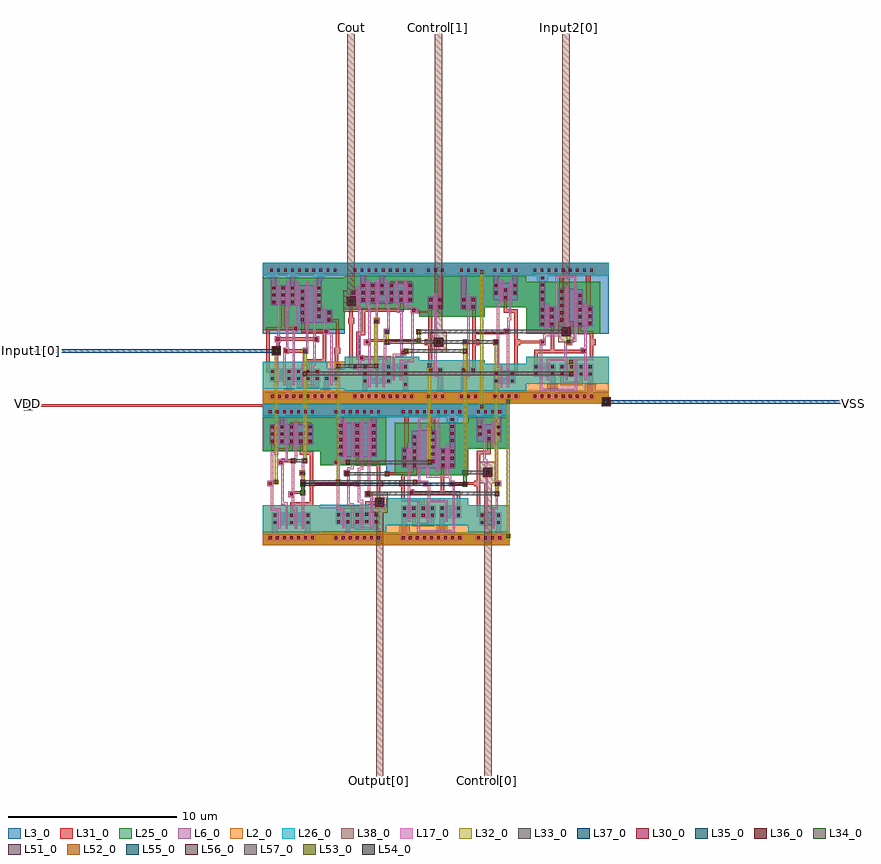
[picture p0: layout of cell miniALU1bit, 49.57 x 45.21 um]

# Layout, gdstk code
from math import pi, radians
import gdstk
lib = gdstk.Library(unit=1e-6, precision=1e-09)
def R(c, l, rs):  # rectangles x0, y0, x1, y1
    for r in rs: c.add(gdstk.rectangle(r[:2], r[2:], *l))
def A(c, l, x, y, w, h, nx, ny, dx, dy):  # array of equal rectangles
    R(c, l, [(x+i*dx, y+j*dy, x+i*dx+w, y+j*dy+h) for i in range(nx) for j in range(ny)])
def P(c, l, *ps):  # polygons
    for p in ps: c.add(gdstk.Polygon(p, *l))
L2_0 = (2, 0)
L3_0 = (3, 0)
L6_0 = (6, 0)
L17_0 = (17, 0)
L25_0 = (25, 0)
L26_0 = (26, 0)
L30_0 = (30, 0)
L31_0 = (31, 0)
L32_0 = (32, 0)
L33_0 = (33, 0)
L34_0 = (34, 0)
L35_0 = (35, 0)
L36_0 = (36, 0)
L37_0 = (37, 0)
L38_0 = (38, 0)
L51_0 = (51, 0)
L52_0 = (52, 0)
L53_0 = (53, 0)
L54_0 = (54, 0)
L55_0 = (55, 0)
L56_0 = (56, 0)
L57_0 = (57, 0)

adk_poly_m1 = lib.new_cell('ADK_poly_m1')
R(adk_poly_m1, L17_0, [(-0.175,-0.175,0.175,0.175)])
R(adk_poly_m1, L30_0, [(-0.08,-0.08,0.08,0.08)])
R(adk_poly_m1, L31_0, [(-0.175,-0.175,0.175,0.175)])

inv01 = lib.new_cell('inv01')
R(inv01, L2_0, [(0,0,1.96,2.59)])
R(inv01, L3_0, [(0,5.18,1.96,8.4), (0,5.18,1.96,7.63)])
R(inv01, L6_0, [(0.385,0.28,1.575,0.63), (0.525,0.63,0.875,1.54), (0.525,1.54,0.84,1.82), (0.525,1.82,0.91,2.17), (0.525,1.82,1.435,2.17), (1.05,1.82,1.435,2.17), (0.525,5.6,0.91,6.37), (0.525,5.6,1.435,6.37), (1.05,5.6,1.435,6.37), (0.525,6.37,0.84,6.65), (0.525,6.65,0.875,7.77), (0.385,7.77,1.575,8.12)])
R(inv01, L17_0, [(0.91,1.61,1.05,1.82), (0.91,1.82,1.05,2.17), (0.91,2.17,1.05,2.38), (0.91,2.345,1.05,5.425), (0.91,5.39,1.05,5.6), (0.91,5.6,1.05,6.37), (0.91,6.37,1.05,6.58)])
R(inv01, L25_0, [(0,0,1.96,0.77), (0,5.18,1.96,7.63)])
R(inv01, L26_0, [(0,0.77,1.96,2.59), (0,7.63,1.96,8.4)])
A(inv01, L30_0, 0.48, 0.375, 0.16, 0.16, 3, 2, 0.42, 7.49)
R(inv01, L30_0, [(0.62,1.915,0.78,2.075), (1.18,1.915,1.34,2.075), (0.62,5.695,0.78,5.855), (1.18,5.695,1.34,5.855), (0.62,6.115,0.78,6.275), (1.18,6.115,1.34,6.275)])
R(inv01, L31_0, [(0,0,1.96,0.7), (0,0,1.96,0.7), (0.56,0.7,0.84,1.505), (0.56,1.505,0.805,1.855), (0.56,1.855,0.84,2.135), (1.12,1.855,1.4,2.135), (1.19,2.135,1.4,5.635), (0.63,3.5,0.98,3.85), (1.26,3.5,1.61,3.85), (1.26,3.5,1.61,3.85), (0.56,5.635,0.84,6.335), (1.12,5.635,1.4,6.335), (0.56,6.335,0.805,6.685), (0.56,6.685,0.84,7.7), (0,7.7,1.96,8.4), (0,7.7,1.96,8.4)])
inv01.add(gdstk.Reference(adk_poly_m1, (0.805,3.675)))
inv01.add(gdstk.Label('Y', (1.435,3.675), layer=131, texttype=0))
inv01.add(gdstk.Label('A', (0.805,3.675), layer=131, texttype=0))
inv01.add(gdstk.Label('VDD', (0.98,8.05), layer=131, texttype=0))
inv01.add(gdstk.Label('VSS', (0.98,0.35), layer=131, texttype=0))

ao32 = lib.new_cell('ao32')
R(ao32, L2_0, [(0,0,4.41,2.8)])
R(ao32, L3_0, [(0,5.6,4.41,8.4)])
P(ao32, L3_0, [(4.41,7.21),(3.815,7.21),(3.815,7.63),(0,7.63),(0,5.6),(4.41,5.6)])
R(ao32, L6_0, [(0.28,0.28,3.99,0.63), (0.63,0.63,0.98,1.33), (3.045,0.63,3.395,0.91), (3.08,0.91,3.395,1.19), (0.63,1.33,0.945,1.61), (0.63,1.61,1.015,2.38), (3.605,2.03,3.99,2.38), (0.345,6.02,0.73,7.21), (3.705,6.02,4.09,6.79), (2.06,7.21,2.34,7.49), (3.18,7.21,3.495,7.49), (2.025,7.49,2.375,7.77), (3.145,7.49,3.495,7.77), (0.28,7.77,3.99,8.12)])
P(ao32, L6_0, [(3.395,1.19),(3.395,2.03),(3.99,2.03),(3.99,2.38),(0.63,2.38),(0.63,1.61),(1.645,1.61),(1.645,1.19)],
  [(0.38,6.02),(4.09,6.02),(4.09,6.79),(3.495,6.79),(3.495,7.21),(0.38,7.21)])
A(ao32, L17_0, 2.03, 0.98, 0.14, 0.21, 3, 2, 0.42, 1.4)
A(ao32, L17_0, 2.03, 1.19, 0.14, 1.19, 3, 1, 0.42, 0)
A(ao32, L17_0, 0.73, 5.81, 0.14, 0.21, 5, 2, 0.56, 1.4)
A(ao32, L17_0, 0.73, 6.02, 0.14, 1.19, 5, 1, 0.56, 0)
R(ao32, L17_0, [(1.015,1.4,1.155,1.61), (1.435,1.4,1.575,1.61), (1.015,1.61,1.155,2.38), (1.435,1.61,1.575,2.38), (3.465,1.82,3.605,2.03), (3.465,2.03,3.605,2.38), (1.015,2.38,1.155,2.59), (1.435,2.38,1.575,2.59), (3.465,2.38,3.605,2.59), (3.255,2.555,3.605,2.905), (1.19,5.71,1.43,5.845), (1.75,5.71,1.99,5.845), (2.87,5.71,3.11,5.845), (3.465,5.71,3.705,5.845), (3.565,5.81,3.705,6.02), (3.565,6.02,3.705,6.79), (3.565,6.79,3.705,7)])
R(ao32, L25_0, [(0,0,4.41,0.77), (0,5.6,4.41,7.63)])
R(ao32, L26_0, [(0,0.77,4.41,2.8), (0,7.63,4.41,8.4)])
A(ao32, L30_0, 0.375, 0.375, 0.16, 0.16, 9, 2, 0.42, 7.49)
A(ao32, L30_0, 1.74, 1.285, 0.16, 0.16, 1, 3, 0, 0.42)
A(ao32, L30_0, 3.14, 1.285, 0.16, 0.16, 1, 3, 0, 0.42)
A(ao32, L30_0, 0.44, 6.115, 0.16, 0.16, 3, 1, 0.56, 0)
A(ao32, L30_0, 0.44, 6.535, 0.16, 0.16, 6, 1, 0.56, 0)
A(ao32, L30_0, 1.56, 6.955, 0.16, 0.16, 4, 1, 0.56, 0)
R(ao32, L30_0, [(0.725,1.075,0.885,1.235), (0.725,1.705,0.885,1.865), (0.725,2.125,0.885,2.285), (3.735,2.125,3.895,2.285), (3.35,2.65,3.51,2.81), (2.68,6.115,2.84,6.275), (3.24,6.115,3.4,6.275), (3.835,6.115,3.995,6.275), (3.835,6.535,3.995,6.695), (0.44,6.955,0.6,7.115)])
A(ao32, L31_0, 0.38, 6.055, 0.28, 1.12, 3, 1, 1.12, 0)
R(ao32, L31_0, [(0,0,4.41,0.7), (0,0,4.41,0.7), (0.665,0.7,0.945,1.295), (3.08,0.7,3.36,0.875), (3.115,0.875,3.36,1.225), (1.68,1.225,1.96,2.345), (3.08,1.225,3.36,2.345), (0.665,1.295,0.91,1.645), (0.665,1.645,0.945,2.345), (3.675,2.065,3.955,2.345), (3.29,2.59,3.57,2.87), (0.77,2.87,1.12,3.22), (2.93,3.5,3.28,3.85), (1.75,4.13,2.1,4.48), (2.34,4.76,2.69,5.11), (3.865,4.76,4.215,5.11), (0.14,5.39,0.49,5.74), (0.94,6.055,1.22,6.775), (3.18,6.055,3.46,7.175), (3.775,6.055,4.055,6.755), (2.06,6.43,2.34,7.175), (2.095,7.175,2.305,7.525), (3.215,7.175,3.46,7.525), (2.06,7.525,2.34,7.7), (3.18,7.525,3.46,7.7), (0,7.7,4.41,8.4), (0,7.7,4.41,8.4)])
ao32.add(gdstk.FlexPath([(1.015,6.055),(1.015,5.6),(3.315,5.6),(3.315,4.175),(3.62,4.175),(3.62,2.73),(1.785,2.73),(1.785,2.345)], 0.21, ends="flush", simple_path=True, layer=31, datatype=0))  # L31_0
ao32.add(gdstk.FlexPath([(4.055,2.125),(4.055,6.255)], 0.21, ends="flush", simple_path=True, layer=31, datatype=0))  # L31_0
ao32.add(gdstk.FlexPath([(1.675,6.055),(1.675,6.04),(2.725,6.04),(2.725,6.055)], 0.21, ends="flush", simple_path=True, layer=31, datatype=0))  # L31_0
ao32.add(gdstk.FlexPath([(1.89,2.73),(3.29,2.73)], 0.21, ends="flush", simple_path=True, layer=31, datatype=0))  # L31_0
ao32.add(gdstk.FlexPath([(0.555,7.175),(0.555,7.23),(1.605,7.23),(1.605,7.175)], 0.21, ends="flush", simple_path=True, layer=31, datatype=0))  # L31_0
ao32.add(gdstk.FlexPath([(0.87,5.81),(0.385,5.81),(0.385,2.555),(1.155,2.555)], 0.14, ends="flush", simple_path=True, layer=17, datatype=0))  # L17_0
ao32.add(gdstk.FlexPath([(2.94,5.845),(2.94,2.555)], 0.14, ends="flush", simple_path=True, layer=17, datatype=0))  # L17_0
ao32.add(gdstk.FlexPath([(2.03,4.13),(2.03,2.555),(2.17,2.555)], 0.14, ends="flush", simple_path=True, layer=17, datatype=0))  # L17_0
ao32.add(gdstk.FlexPath([(2.41,5.845),(2.52,5.845),(2.52,2.555)], 0.14, ends="flush", simple_path=True, layer=17, datatype=0))  # L17_0
ao32.add(gdstk.FlexPath([(1.26,5.845),(1.26,5.495),(1.05,5.495),(1.05,2.905),(1.505,2.905),(1.505,2.555)], 0.14, ends="flush", simple_path=True, layer=17, datatype=0))  # L17_0
ao32.add(gdstk.FlexPath([(3.535,5.845),(3.535,2.905)], 0.14, ends="flush", simple_path=True, layer=17, datatype=0))  # L17_0
ao32.add(gdstk.FlexPath([(1.82,5.845),(1.82,4.48)], 0.14, ends="flush", simple_path=True, layer=17, datatype=0))  # L17_0
ao32.add(gdstk.Reference(adk_poly_m1, (1.925,4.305), rotation=pi, x_reflection=True))
ao32.add(gdstk.Reference(adk_poly_m1, (0.945,3.045), rotation=pi, x_reflection=True))
ao32.add(gdstk.Reference(adk_poly_m1, (3.105,3.675), rotation=pi, x_reflection=True))
ao32.add(gdstk.Reference(adk_poly_m1, (2.515,4.935), rotation=pi, x_reflection=True))
ao32.add(gdstk.Reference(adk_poly_m1, (0.315,5.565), rotation=pi, x_reflection=True))
ao32.add(gdstk.Label('VSS', (2.205,0.35), layer=131, texttype=0))
ao32.add(gdstk.Label('VDD', (2.205,8.05), layer=131, texttype=0))
ao32.add(gdstk.Label('A2', (3.105,3.675), layer=131, texttype=0))
ao32.add(gdstk.Label('A0', (1.925,4.305), layer=131, texttype=0))
ao32.add(gdstk.Label('Y', (4.04,4.935), layer=131, texttype=0))
ao32.add(gdstk.Label('B0', (0.945,3.045), layer=131, texttype=0))
ao32.add(gdstk.Label('B1', (0.315,5.565), layer=131, texttype=0))
ao32.add(gdstk.Label('A1', (2.515,4.935), layer=131, texttype=0))

xnor2 = lib.new_cell('xnor2')
R(xnor2, L2_0, [(0,0,4.9,2.8)])
R(xnor2, L3_0, [(0,4.165,4.9,8.4)])
P(xnor2, L3_0, [(3.8,4.165),(3.8,4.2),(4.395,4.2),(4.395,6.23),(3.8,6.23),(3.8,7.245),(3.205,7.245),(3.205,7.28),(1.525,7.28),(1.525,6.195),(0.37,6.195),(0.37,4.165)])
R(xnor2, L6_0, [(0.35,0.28,4.06,0.63), (3.64,0.63,3.99,1.295), (1.4,0.98,1.75,1.295), (1.435,1.295,1.75,1.61), (3.675,1.295,3.99,1.61), (0.42,1.61,0.805,2.38), (0.42,1.61,1.75,2.38), (1.365,1.61,1.75,2.38), (1.96,1.61,3.99,2.38), (1.96,1.61,2.345,2.38), (3.605,1.61,3.99,2.38), (0.79,4.585,1.175,5.775), (3.59,4.62,3.975,5.81), (0.79,5.775,1.105,6.09), (0.79,6.09,1.14,7.77), (0.35,7.77,4.06,8.12)])
P(xnor2, L6_0, [(2.295,4.585),(2.295,4.62),(2.575,4.62),(2.575,4.585),(3.38,4.585),(3.38,4.62),(3.975,4.62),(3.975,5.81),(3.38,5.81),(3.38,6.825),(2.785,6.825),(2.785,6.86),(1.945,6.86),(1.945,5.775),(0.79,5.775),(0.79,4.585)])
A(xnor2, L17_0, 2.345, 1.4, 0.14, 0.21, 3, 2, 0.56, 0.98)
A(xnor2, L17_0, 2.345, 1.61, 0.14, 0.77, 3, 1, 0.56, 0)
R(xnor2, L17_0, [(0.805,1.4,0.945,1.61), (1.225,1.4,1.365,1.61), (0.805,1.61,0.945,2.38), (1.225,1.61,1.365,2.38), (0.805,2.38,0.945,2.59), (1.225,2.38,1.365,2.59), (0.805,2.555,0.945,3.5), (1.225,2.555,2.485,2.695), (3.465,2.555,3.605,4.41), (2.275,2.695,2.415,3.64), (3.22,2.975,3.57,3.325), (3.45,4.235,3.59,4.41), (1.175,4.375,1.315,4.585), (1.735,4.375,1.875,4.585), (2.855,4.375,2.995,4.585), (2.365,4.41,2.505,4.62), (3.45,4.41,3.59,4.62), (1.175,4.585,1.315,5.775), (1.735,4.585,1.875,5.775), (2.855,4.585,2.995,6.825), (2.365,4.62,2.505,6.86), (3.45,4.62,3.59,5.81), (1.175,5.775,1.315,5.985), (1.735,5.775,1.875,5.985), (3.45,5.81,3.59,6.02), (2.855,6.825,2.995,7.035), (2.365,6.86,2.505,7.07)])
P(xnor2, L17_0, [(1.175,4.03),(2.505,4.03),(2.505,4.41),(2.365,4.41),(2.365,4.17),(1.315,4.17),(1.315,4.41),(1.175,4.41)],
  [(1.735,5.95),(1.875,5.95),(1.875,7.49),(2.855,7.49),(2.855,7),(2.995,7),(2.995,7.63),(1.735,7.63)],
  [(2.73,3.71),(2.995,3.71),(2.995,4.425),(2.855,4.425),(2.855,3.85),(2.73,3.85)],
  [(1.015,3.85),(1.155,3.85),(1.155,4.025),(1.295,4.025),(1.295,4.165),(1.015,4.165)],
  [(0.805,0.77),(3.045,0.77),(3.045,1.435),(2.905,1.435),(2.905,0.91),(0.945,0.91),(0.945,1.435),(0.805,1.435)])
R(xnor2, L25_0, [(0,0,4.9,0.77), (1.26,0.77,1.89,1.19), (3.5,0.77,4.13,1.19), (0,4.165,4.395,7.28)])
R(xnor2, L26_0, [(0,1.19,2.17,2.8), (1.54,1.19,4.9,2.8), (0.65,7.28,1.28,7.63), (0,7.63,4.9,8.4)])
A(xnor2, L30_0, 0.445, 0.375, 0.16, 0.16, 9, 2, 0.42, 7.49)
A(xnor2, L30_0, 1.495, 1.705, 0.16, 0.16, 5, 2, 0.56, 0.42)
A(xnor2, L30_0, 0.885, 4.68, 0.16, 0.16, 1, 3, 0, 0.42)
A(xnor2, L30_0, 1.445, 4.68, 0.16, 0.16, 1, 3, 0, 0.42)
A(xnor2, L30_0, 3.125, 4.68, 0.16, 0.16, 1, 5, 0, 0.42)
A(xnor2, L30_0, 3.72, 4.715, 0.16, 0.16, 1, 3, 0, 0.42)
A(xnor2, L30_0, 2.04, 4.925, 0.16, 0.16, 1, 5, 0, 0.42)
A(xnor2, L30_0, 0.885, 6.15, 0.16, 0.16, 1, 4, 0, 0.42)
R(xnor2, L30_0, [(0.515,1.705,0.675,1.865), (0.515,2.125,0.675,2.285), (3.315,3.07,3.475,3.23)])
A(xnor2, L31_0, 1.435, 1.645, 0.28, 0.7, 5, 1, 0.56, 0)
R(xnor2, L31_0, [(0,0,4.9,0.7), (1.435,0.7,1.715,1.015), (3.675,0.7,3.955,1.295), (1.435,1.015,1.715,1.295), (1.47,1.295,1.715,1.645), (3.71,1.295,3.955,1.645), (0.455,1.645,0.735,2.345), (3.255,3.01,3.535,3.29), (1.455,3.22,1.665,4.62), (0.805,3.5,1.155,3.85), (2.38,3.5,2.73,3.85), (3.78,3.5,4.13,3.85), (3.78,3.5,4.13,3.85), (0.825,4.62,1.105,5.74), (1.385,4.62,1.665,5.74), (3.065,4.62,3.345,6.58), (3.66,4.655,3.94,5.775), (1.98,4.865,2.26,6.825), (0.825,5.74,1.07,6.09), (3.59,5.74,3.835,6.09), (0.825,6.09,1.105,7.7), (3.555,6.09,3.835,7.7), (1.98,6.79,2.225,7.105), (1.98,7.105,2.26,7.385), (1.98,7.385,2.26,7.7), (0,7.7,4.9,8.4)])
P(xnor2, L31_0, [(3.07,4.13),(3.78,4.13),(3.78,3.85),(3.99,3.85),(3.99,4.34),(3.28,4.34),(3.28,4.62),(3.07,4.62)],
  [(2.59,2.345),(2.8,2.345),(2.8,2.59),(3.99,2.59),(3.99,3.5),(3.78,3.5),(3.78,2.8),(2.59,2.8)],
  [(0.49,2.345),(0.7,2.345),(0.7,3.01),(3.255,3.01),(3.255,3.22),(0.49,3.22)],
  [(2.03,1.12),(3.36,1.12),(3.36,1.645),(3.15,1.645),(3.15,1.33),(2.24,1.33),(2.24,1.645),(2.03,1.645)])
xnor2.add(gdstk.Reference(adk_poly_m1, (2.555,3.675)))
xnor2.add(gdstk.Reference(adk_poly_m1, (0.98,3.675)))
xnor2.add(gdstk.Label('VSS', (2.45,0.35), layer=131, texttype=0))
xnor2.add(gdstk.Label('VDD', (2.45,8.05), layer=131, texttype=0))
xnor2.add(gdstk.Label('Y', (3.955,3.675), layer=131, texttype=0))
xnor2.add(gdstk.Label('A0', (0.98,3.675), layer=131, texttype=0))
xnor2.add(gdstk.Label('A1', (2.555,3.675), layer=131, texttype=0))

xor2 = lib.new_cell('xor2')
R(xor2, L2_0, [(0,0,4.9,2.52)])
R(xor2, L3_0, [(0,4.17,4.9,8.4)])
P(xor2, L3_0, [(4.55,4.41),(4.55,6.02),(3.955,6.02),(3.955,7.49),(0.07,7.49),(0.07,5.46),(1.785,5.46),(1.785,4.41)])
R(xor2, L6_0, [(0.42,0.28,4.55,0.63), (1.4,0.63,1.75,1.015), (3.605,0.63,3.955,1.05), (1.435,1.015,1.715,1.33), (3.64,1.05,3.955,1.33), (0.42,1.33,3.43,2.1), (0.42,1.33,0.805,2.1), (3.045,1.33,3.43,2.1), (3.64,1.33,4.55,1.68), (3.64,1.33,4.025,1.68), (4.165,1.33,4.55,1.68), (3.745,4.83,4.13,5.6), (0.49,5.88,0.875,7.07), (0.49,7.07,0.805,7.35), (1.645,7.07,1.925,7.35), (3.22,7.07,3.535,7.35), (0.455,7.35,0.805,7.77), (1.61,7.35,1.96,7.77), (3.22,7.35,3.57,7.77), (0.35,7.77,4.48,8.12)])
P(xor2, L6_0, [(4.13,4.83),(4.13,5.6),(3.535,5.6),(3.535,7.07),(0.49,7.07),(0.49,5.88),(2.205,5.88),(2.205,4.83)])
A(xor2, L17_0, 1.225, 1.12, 0.14, 0.21, 4, 2, 0.56, 0.98)
A(xor2, L17_0, 1.225, 1.33, 0.14, 0.77, 4, 1, 0.56, 0)
A(xor2, L17_0, 0.875, 5.67, 0.14, 0.21, 3, 2, 0.56, 1.4)
A(xor2, L17_0, 0.875, 5.88, 0.14, 1.19, 3, 1, 0.56, 0)
R(xor2, L17_0, [(0.805,1.12,0.945,1.33), (4.025,1.12,4.165,1.33), (0.805,1.33,0.945,2.1), (4.025,1.33,4.165,1.68), (4.025,1.68,4.165,1.89), (0.805,2.1,0.945,2.31), (1.225,2.975,1.575,3.325), (0.735,3.675,1.085,4.025), (3.01,3.675,3.36,4.025), (3.605,4.13,3.955,4.48), (1.785,4.305,2.135,4.655), (2.59,4.62,2.73,4.83), (3.01,4.62,3.15,4.83), (3.605,4.62,3.745,4.83), (2.59,4.83,2.73,7.07), (3.01,4.83,3.15,7.07), (3.605,4.83,3.745,5.6), (3.605,5.6,3.745,5.81), (2.59,7.07,2.73,7.28), (3.01,7.07,3.15,7.28)])
R(xor2, L25_0, [(0,0,4.9,0.77), (1.26,0.77,1.89,0.91), (3.465,0.77,4.095,0.91), (0,4.41,4.9,7.49)])
R(xor2, L26_0, [(0,0.91,3.85,2.52), (3.22,0.91,4.9,2.1), (0.315,7.49,0.945,7.63), (1.47,7.49,2.1,7.63), (3.08,7.49,3.71,7.63), (0,7.63,4.9,8.4)])
A(xor2, L30_0, 0.515, 0.375, 0.16, 0.16, 10, 1, 0.42, 0)
A(xor2, L30_0, 1.495, 1.425, 0.16, 0.16, 6, 1, 0.56, 0)
A(xor2, L30_0, 1.495, 1.845, 0.16, 0.16, 4, 1, 0.56, 0)
A(xor2, L30_0, 2.3, 4.925, 0.16, 0.16, 1, 5, 0, 0.42)
A(xor2, L30_0, 3.28, 5.135, 0.16, 0.16, 1, 5, 0, 0.42)
A(xor2, L30_0, 0.585, 5.975, 0.16, 0.16, 3, 3, 0.56, 0.42)
A(xor2, L30_0, 0.445, 7.865, 0.16, 0.16, 10, 1, 0.42, 0)
R(xor2, L30_0, [(0.515,1.425,0.675,1.585), (0.515,1.845,0.675,2.005), (1.32,3.07,1.48,3.23), (0.83,3.77,0.99,3.93), (3.105,3.77,3.265,3.93), (3.7,4.225,3.86,4.385), (1.88,4.4,2.04,4.56), (3.875,4.925,4.035,5.085), (3.875,5.345,4.035,5.505)])
A(xor2, L31_0, 1.435, 1.365, 0.28, 0.7, 4, 1, 0.56, 0)
A(xor2, L31_0, 0.525, 5.915, 0.28, 1.12, 3, 1, 0.56, 0)
R(xor2, L31_0, [(0,0,4.9,0.7), (1.435,0.7,1.715,1.015), (3.64,0.7,3.92,1.015), (1.47,1.015,1.68,1.365), (3.675,1.015,3.92,1.365), (0.455,1.365,0.735,2.065), (3.675,1.365,3.955,1.645), (4.235,1.365,4.515,1.645), (0.665,2.975,1.015,3.325), (2.38,2.975,2.73,3.325), (4.27,2.975,4.62,3.325), (4.27,2.975,4.62,3.325), (1.26,3.01,1.54,3.29), (0.77,3.71,1.05,3.99), (3.045,3.71,3.325,3.99), (3.64,4.165,3.92,4.445), (1.82,4.34,2.1,4.62), (2.24,4.865,2.52,6.825), (3.815,4.865,4.095,5.565), (3.22,5.075,3.5,7.035), (0.525,7.035,0.77,7.385), (1.68,7.035,1.89,7.385), (3.255,7.035,3.5,7.385), (0.49,7.385,0.77,7.7), (1.645,7.385,1.925,7.7), (3.255,7.385,3.535,7.7), (0,7.7,4.9,8.4)])
xor2.add(gdstk.FlexPath([(3.255,1.365),(3.255,1.05),(2.135,1.05),(2.135,1.365)], 0.21, ends="flush", simple_path=True, layer=31, datatype=0))  # L31_0
xor2.add(gdstk.FlexPath([(4.41,1.645),(4.41,2.975)], 0.21, ends="flush", simple_path=True, layer=31, datatype=0))  # L31_0
xor2.add(gdstk.FlexPath([(4.095,4.97),(4.445,4.97),(4.445,3.325)], 0.21, ends="flush", simple_path=True, layer=31, datatype=0))  # L31_0
xor2.add(gdstk.FlexPath([(2.415,3.15),(1.54,3.15)], 0.21, ends="flush", simple_path=True, layer=31, datatype=0))  # L31_0
xor2.add(gdstk.FlexPath([(0.91,3.325),(0.91,3.71)], 0.21, ends="flush", simple_path=True, layer=31, datatype=0))  # L31_0
xor2.add(gdstk.FlexPath([(1.12,4.48),(0.315,4.48),(0.315,1.96),(0.455,1.96)], 0.21, ends="flush", simple_path=True, layer=31, datatype=0))  # L31_0
xor2.add(gdstk.FlexPath([(2.415,4.865),(2.415,4.34),(3.675,4.34),(3.675,2.555),(2.695,2.555),(2.695,2.065)], 0.21, ends="flush", simple_path=True, layer=31, datatype=0))  # L31_0
xor2.add(gdstk.FlexPath([(3.045,3.85),(1.05,3.85)], 0.21, ends="flush", simple_path=True, layer=31, datatype=0))  # L31_0
xor2.add(gdstk.FlexPath([(1.82,4.48),(1.225,4.48),(1.225,5.915)], 0.21, ends="flush", simple_path=True, layer=31, datatype=0))  # L31_0
xor2.add(gdstk.FlexPath([(0.945,5.705),(0.945,4.025)], 0.14, ends="flush", simple_path=True, layer=17, datatype=0))  # L17_0
xor2.add(gdstk.FlexPath([(3.675,4.655),(3.675,4.48)], 0.14, ends="flush", simple_path=True, layer=17, datatype=0))  # L17_0
xor2.add(gdstk.FlexPath([(2.66,3.325),(2.66,4.655)], 0.14, ends="flush", simple_path=True, layer=17, datatype=0))  # L17_0
xor2.add(gdstk.FlexPath([(3.08,4.655),(3.08,2.345),(2.905,2.345)], 0.14, ends="flush", simple_path=True, layer=17, datatype=0))  # L17_0
xor2.add(gdstk.FlexPath([(0.875,2.275),(0.875,3.675)], 0.14, ends="flush", simple_path=True, layer=17, datatype=0))  # L17_0
xor2.add(gdstk.FlexPath([(2.45,2.975),(2.45,2.345),(2.345,2.345)], 0.14, ends="flush", simple_path=True, layer=17, datatype=0))  # L17_0
xor2.add(gdstk.FlexPath([(2.065,5.705),(2.065,4.655)], 0.14, ends="flush", simple_path=True, layer=17, datatype=0))  # L17_0
xor2.add(gdstk.FlexPath([(1.575,5.635),(1.47,5.635),(1.47,3.325)], 0.14, ends="flush", simple_path=True, layer=17, datatype=0))  # L17_0
xor2.add(gdstk.FlexPath([(1.295,2.975),(1.295,2.275)], 0.14, ends="flush", simple_path=True, layer=17, datatype=0))  # L17_0
xor2.add(gdstk.FlexPath([(1.855,2.275),(1.855,4.305)], 0.14, ends="flush", simple_path=True, layer=17, datatype=0))  # L17_0
xor2.add(gdstk.FlexPath([(4.095,1.855),(4.095,4.2),(3.955,4.2)], 0.14, ends="flush", simple_path=True, layer=17, datatype=0))  # L17_0
xor2.add(gdstk.Reference(adk_poly_m1, (0.84,3.15)))
xor2.add(gdstk.Reference(adk_poly_m1, (2.555,3.15)))
xor2.add(gdstk.Label('Y', (4.445,3.15), layer=131, texttype=0))
xor2.add(gdstk.Label('A1', (2.555,3.15), layer=131, texttype=0))
xor2.add(gdstk.Label('A0', (0.84,3.15), layer=131, texttype=0))
xor2.add(gdstk.Label('VDD', (2.45,8.05), layer=131, texttype=0))
xor2.add(gdstk.Label('VSS', (2.45,0.35), layer=131, texttype=0))

nand02 = lib.new_cell('nand02')
R(nand02, L2_0, [(0,0,2.45,2.38)])
R(nand02, L3_0, [(0,5.74,2.45,7.63), (0,5.74,2.45,8.4)])
R(nand02, L6_0, [(0.42,0.28,2.03,0.63), (0.49,0.63,0.84,0.91), (0.49,0.91,0.805,1.19), (0.49,1.19,0.875,1.96), (0.49,1.19,1.82,1.96), (1.435,1.19,1.82,1.96), (0.49,6.16,1.96,7.21), (0.49,6.16,0.875,7.21), (1.575,6.16,1.96,7.21), (0.49,7.21,0.805,7.49), (1.645,7.21,1.96,7.49), (0.49,7.49,0.84,7.77), (1.61,7.49,1.96,7.77), (0.42,7.77,2.03,8.12)])
R(nand02, L17_0, [(0.875,0.98,1.015,1.19), (1.295,0.98,1.435,1.19), (0.875,1.19,1.015,1.96), (1.295,1.19,1.435,1.96), (0.875,1.96,1.015,2.17), (1.295,1.96,1.435,2.17), (1.295,2.135,1.435,4.13), (0.875,5.95,1.015,6.16), (1.435,5.95,1.575,6.16), (0.875,6.16,1.015,7.21), (1.435,6.16,1.575,7.21), (0.875,7.21,1.015,7.42), (1.435,7.21,1.575,7.42)])
P(nand02, L17_0, [(0.7,2.135),(1.015,2.135),(1.015,2.275),(0.84,2.275),(0.84,3.5),(0.7,3.5)],
  [(0.7,3.85),(0.84,3.85),(0.84,5.845),(1.015,5.845),(1.015,5.985),(0.7,5.985)],
  [(1.33,4.48),(1.47,4.48),(1.47,4.97),(1.575,4.97),(1.575,5.985),(1.435,5.985),(1.435,5.11),(1.33,5.11)])
R(nand02, L25_0, [(0,0,2.45,0.77), (0,5.74,2.45,7.63)])
R(nand02, L26_0, [(0,0.77,2.45,2.38), (0,7.63,2.45,8.4)])
A(nand02, L30_0, 0.515, 0.375, 0.16, 0.16, 4, 2, 0.42, 7.49)
R(nand02, L30_0, [(0.585,1.285,0.745,1.445), (1.565,1.285,1.725,1.445), (0.585,1.705,0.745,1.865), (1.565,1.705,1.725,1.865), (1.145,6.255,1.305,6.415), (0.585,6.535,0.745,6.695), (1.705,6.535,1.865,6.695), (1.145,6.675,1.305,6.835), (0.585,6.955,0.745,7.115), (1.705,6.955,1.865,7.115)])
R(nand02, L31_0, [(0,0,2.45,0.7), (0,0,2.45,0.7), (0.525,0.7,0.805,0.875), (0.525,0.875,0.77,1.225), (0.525,1.225,0.805,1.925), (1.505,1.225,1.785,1.925), (1.75,1.715,1.96,3.5), (0.49,3.5,0.84,3.85), (1.75,3.5,2.1,3.85), (1.75,3.5,2.1,3.85), (1.12,4.13,1.47,4.48), (1.085,6.195,1.365,6.895), (0.525,6.475,0.805,7.175), (1.645,6.475,1.925,7.175), (0.525,7.175,0.77,7.525), (1.68,7.175,1.925,7.525), (0.525,7.525,0.805,7.7), (1.645,7.525,1.925,7.7), (0,7.7,2.45,8.4), (0,7.7,2.45,8.4)])
P(nand02, L31_0, [(1.12,5.425),(1.75,5.425),(1.75,3.85),(1.96,3.85),(1.96,5.635),(1.33,5.635),(1.33,6.195),(1.12,6.195)])
nand02.add(gdstk.Reference(adk_poly_m1, (0.665,3.675), rotation=pi))
nand02.add(gdstk.Reference(adk_poly_m1, (1.295,4.305), rotation=pi))
nand02.add(gdstk.Label('A1', (0.665,3.675), layer=131, texttype=0))
nand02.add(gdstk.Label('VSS', (1.225,0.35), layer=131, texttype=0))
nand02.add(gdstk.Label('Y', (1.925,3.675), layer=131, texttype=0))
nand02.add(gdstk.Label('VDD', (1.225,8.05), layer=131, texttype=0))
nand02.add(gdstk.Label('A0', (1.295,4.305), layer=131, texttype=0))

oai22 = lib.new_cell('oai22')
R(oai22, L2_0, [(0,0,3.92,2.24)])
R(oai22, L3_0, [(0,4.76,3.92,8.4), (0.63,4.76,3.78,7.63)])
R(oai22, L6_0, [(0.77,0.28,3.64,0.63), (1.47,0.63,1.82,0.88), (1.505,0.88,1.785,1.225), (0.91,1.225,1.295,1.995), (0.91,1.225,3.5,1.995), (3.115,1.225,3.5,1.995), (1.05,5.265,3.36,7.295), (1.05,5.265,1.435,7.295), (2.975,5.265,3.36,7.295), (1.05,7.295,1.365,7.615), (3.045,7.295,3.36,7.615), (1.05,7.615,1.4,7.77), (3.01,7.615,3.36,7.77), (0.77,7.77,3.64,8.12)])
A(oai22, L17_0, 1.295, 1.015, 0.14, 0.21, 4, 2, 0.56, 0.98)
A(oai22, L17_0, 1.295, 1.225, 0.14, 0.77, 4, 1, 0.56, 0)
R(oai22, L17_0, [(1.12,4.865,1.575,5.005), (1.435,4.97,1.575,5.265), (1.855,4.97,1.995,5.265), (2.415,4.97,2.555,5.265), (2.835,4.97,2.975,5.265), (1.435,5.265,1.575,7.295), (1.855,5.265,1.995,7.295), (2.415,5.265,2.555,7.295), (2.835,5.265,2.975,7.295), (1.435,7.295,1.575,7.505), (1.855,7.295,1.995,7.505), (2.415,7.295,2.555,7.505), (2.835,7.295,2.975,7.505)])
P(oai22, L17_0, [(0.98,2.09),(1.295,2.09),(1.295,2.17),(1.435,2.17),(1.435,2.23),(1.12,2.23),(1.12,4.76),(0.98,4.76)],
  [(1.61,4.48),(1.75,4.48),(1.75,4.515),(1.995,4.515),(1.995,5.005),(1.855,5.005),(1.855,4.655),(1.61,4.655)],
  [(2.835,2.925),(2.975,2.925),(2.975,2.065),(3.115,2.065),(3.115,3.065),(2.975,3.065),(2.975,5.11),(2.835,5.11)],
  [(1.61,2.37),(1.855,2.37),(1.855,2.17),(1.995,2.17),(1.995,2.51),(1.75,2.51),(1.75,4.13),(1.61,4.13)],
  [(2.24,2.565),(2.415,2.565),(2.415,2.065),(2.555,2.065),(2.555,2.705),(2.38,2.705),(2.38,4.485),(2.555,4.485),(2.555,5.11),(2.415,5.11),(2.415,4.625),(2.24,4.625)])
R(oai22, L25_0, [(0,0,3.92,0.805), (0,4.76,3.92,7.63)])
R(oai22, L26_0, [(0,0.805,3.92,2.415), (0,7.63,3.92,8.4)])
A(oai22, L30_0, 0.865, 0.375, 0.16, 0.16, 7, 2, 0.42, 7.49)
A(oai22, L30_0, 1.005, 1.32, 0.16, 0.16, 3, 2, 0.56, 0.42)
A(oai22, L30_0, 1.145, 5.36, 0.16, 0.16, 3, 5, 0.98, 0.42)
R(oai22, L30_0, [(3.245,1.32,3.405,1.48), (2.685,1.345,2.845,1.505), (3.245,1.74,3.405,1.9), (2.685,1.765,2.845,1.925)])
A(oai22, L31_0, 0.945, 1.26, 0.28, 0.7, 3, 1, 0.56, 0)
A(oai22, L31_0, 1.085, 5.3, 0.28, 1.96, 3, 1, 0.98, 0)
R(oai22, L31_0, [(0,0,3.92,0.7), (1.505,0.7,1.785,0.845), (1.54,0.845,1.75,1.26), (3.185,1.26,3.465,1.96), (2.625,1.285,2.905,1.995), (2.66,2.87,3.01,3.22), (2.03,3.5,2.38,3.85), (3.365,3.5,3.715,3.85), (3.365,3.5,3.715,3.85), (1.4,4.13,1.75,4.48), (0.77,4.76,1.12,5.11), (1.085,7.26,1.33,7.65), (3.08,7.26,3.325,7.65), (1.085,7.65,1.365,7.7), (3.045,7.65,3.325,7.7), (0,7.7,3.92,8.4)])
P(oai22, L31_0, [(0.945,1.96),(1.225,1.96),(1.225,2.145),(2.065,2.145),(2.065,1.96),(2.345,1.96),(2.345,2.345),(0.945,2.345)],
  [(2.105,4.745),(3.365,4.745),(3.365,2.61),(2.665,2.61),(2.665,1.755),(2.865,1.755),(2.865,2.41),(3.565,2.41),(3.565,4.945),(2.305,4.945),(2.305,5.54),(2.105,5.54)],
  [(2.065,0.94),(3.465,0.94),(3.465,1.26),(3.185,1.26),(3.185,1.1),(2.345,1.1),(2.345,1.26),(2.065,1.26)])
oai22.add(gdstk.Reference(adk_poly_m1, (1.575,4.305), rotation=pi, x_reflection=True))
oai22.add(gdstk.Reference(adk_poly_m1, (0.945,4.935), rotation=pi, x_reflection=True))
oai22.add(gdstk.Reference(adk_poly_m1, (2.205,3.675), rotation=pi, x_reflection=True))
oai22.add(gdstk.Reference(adk_poly_m1, (2.835,3.045), rotation=pi, x_reflection=True))
oai22.add(gdstk.Label('A1', (2.205,3.675), layer=131, texttype=0))
oai22.add(gdstk.Label('VSS', (1.96,0.35), layer=131, texttype=0))
oai22.add(gdstk.Label('VDD', (1.96,8.05), layer=131, texttype=0))
oai22.add(gdstk.Label('B0', (0.945,4.935), layer=131, texttype=0))
oai22.add(gdstk.Label('B1', (1.575,4.305), layer=131, texttype=0))
oai22.add(gdstk.Label('Y', (3.54,3.675), layer=131, texttype=0))
oai22.add(gdstk.Label('A0', (2.835,3.045), layer=131, texttype=0))

aoi22 = lib.new_cell('aoi22')
R(aoi22, L2_0, [(0,0,3.43,2.38)])
R(aoi22, L3_0, [(0,5.6,3.43,7.63), (0,5.6,3.43,8.4)])
R(aoi22, L6_0, [(0.28,0.28,3.15,0.63), (0.56,0.63,0.91,0.91), (2.52,0.63,2.87,0.91), (0.56,0.91,0.875,1.19), (2.555,0.91,2.87,1.19), (0.56,1.19,2.87,1.96), (0.56,1.19,0.945,1.96), (2.485,1.19,2.87,1.96), (0.42,6.02,3.01,7.21), (0.42,6.02,0.805,7.21), (2.625,6.02,3.01,7.21), (1.015,7.21,1.295,7.49), (0.98,7.49,1.33,7.77), (0.28,7.77,3.15,8.12)])
A(aoi22, L17_0, 0.805, 5.81, 0.14, 0.21, 4, 2, 0.56, 1.4)
A(aoi22, L17_0, 0.805, 6.02, 0.14, 1.19, 4, 1, 0.56, 0)
R(aoi22, L17_0, [(0.945,0.98,1.085,1.19), (1.365,0.98,1.505,1.19), (1.925,0.98,2.065,1.19), (2.345,0.98,2.485,1.19), (0.945,1.19,1.085,1.96), (1.365,1.19,1.505,1.96), (1.925,1.19,2.065,1.96), (2.345,1.19,2.485,1.96), (0.945,1.96,1.085,2.17), (1.365,1.96,1.505,2.17), (1.925,1.96,2.065,2.17), (2.345,1.96,2.485,2.17)])
P(aoi22, L17_0, [(1.12,2.415),(1.365,2.415),(1.365,2.135),(1.505,2.135),(1.505,2.555),(1.26,2.555),(1.26,5.04),(1.505,5.04),(1.505,5.845),(1.365,5.845),(1.365,5.18),(1.12,5.18)],
  [(2.345,2.135),(2.485,2.135),(2.485,5.04),(2.59,5.04),(2.59,5.935),(2.45,5.935),(2.45,5.18),(2.345,5.18)],
  [(1.75,2.135),(2.065,2.135),(2.065,2.275),(1.89,2.275),(1.89,5.04),(2.065,5.04),(2.065,5.845),(1.925,5.845),(1.925,5.18),(1.75,5.18)])
R(aoi22, L25_0, [(0,0,3.43,0.77), (0,5.6,3.43,7.63)])
R(aoi22, L26_0, [(0,0.77,3.43,2.38), (0,7.63,3.43,8.4)])
A(aoi22, L30_0, 0.375, 0.375, 0.16, 0.16, 7, 2, 0.42, 7.49)
A(aoi22, L30_0, 0.655, 1.285, 0.16, 0.16, 3, 2, 0.98, 0.42)
A(aoi22, L30_0, 0.515, 6.115, 0.16, 0.16, 5, 2, 0.56, 0.42)
A(aoi22, L30_0, 0.515, 6.955, 0.16, 0.16, 3, 1, 0.56, 0)
R(aoi22, L30_0, [(2.755,6.955,2.915,7.115)])
A(aoi22, L31_0, 0.595, 1.225, 0.28, 0.7, 3, 1, 0.98, 0)
A(aoi22, L31_0, 0.455, 6.055, 0.28, 1.12, 3, 1, 0.56, 0)
R(aoi22, L31_0, [(0,0,3.43,0.7), (0,0,3.43,0.7), (0.595,0.7,0.875,0.875), (2.555,0.7,2.835,0.875), (0.595,0.875,0.84,1.225), (2.59,0.875,2.835,1.225), (1.54,2.87,1.89,3.22), (0.28,3.5,0.63,3.85), (2.765,3.5,3.115,3.85), (2.17,4.13,2.52,4.48), (0.91,4.76,1.26,5.11), (2.135,6.055,2.415,6.755), (2.695,6.055,2.975,7.175), (1.05,7.175,1.26,7.525), (1.015,7.525,1.295,7.7), (0,7.7,3.43,8.4), (0,7.7,3.43,8.4)])
aoi22.add(gdstk.FlexPath([(2.31,6.055),(2.31,5.495),(2.905,5.495),(2.905,3.85)], 0.21, ends="flush", simple_path=True, layer=31, datatype=0))  # L31_0
aoi22.add(gdstk.FlexPath([(1.75,7.175),(1.75,7.21),(2.8,7.21),(2.8,7.175)], 0.21, ends="flush", simple_path=True, layer=31, datatype=0))  # L31_0
aoi22.add(gdstk.FlexPath([(2.905,3.85),(2.905,2.45),(1.75,2.45),(1.75,1.925)], 0.21, ends="flush", simple_path=True, layer=31, datatype=0))  # L31_0
aoi22.add(gdstk.FlexPath([(1.68,6.055),(1.68,5.705),(0.63,5.705),(0.63,6.055)], 0.21, ends="flush", simple_path=True, layer=31, datatype=0))  # L31_0
aoi22.add(gdstk.FlexPath([(0.56,3.85),(0.56,5.46),(0.875,5.46),(0.875,5.845)], 0.14, ends="flush", simple_path=True, layer=17, datatype=0))  # L17_0
aoi22.add(gdstk.FlexPath([(1.085,2.135),(0.56,2.135),(0.56,3.5)], 0.14, ends="flush", simple_path=True, layer=17, datatype=0))  # L17_0
aoi22.add(gdstk.Reference(adk_poly_m1, (0.455,3.675), rotation=pi, x_reflection=True))
aoi22.add(gdstk.Reference(adk_poly_m1, (1.085,4.935), rotation=pi, x_reflection=True))
aoi22.add(gdstk.Reference(adk_poly_m1, (1.715,3.045), rotation=pi, x_reflection=True))
aoi22.add(gdstk.Reference(adk_poly_m1, (2.345,4.305), rotation=pi, x_reflection=True))
aoi22.add(gdstk.Label('VSS', (1.715,0.35), layer=131, texttype=0))
aoi22.add(gdstk.Label('VDD', (1.715,8.05), layer=131, texttype=0))
aoi22.add(gdstk.Label('A1', (0.455,3.675), layer=131, texttype=0))
aoi22.add(gdstk.Label('A0', (1.085,4.935), layer=131, texttype=0))
aoi22.add(gdstk.Label('B0', (1.715,3.045), layer=131, texttype=0))
aoi22.add(gdstk.Label('B1', (2.345,4.305), layer=131, texttype=0))
aoi22.add(gdstk.Label('Y', (2.94,3.675), layer=131, texttype=0))

m1m2 = lib.new_cell('M1M2')
R(m1m2, L31_0, [(-0.145,-0.145,0.145,0.145)])
R(m1m2, L32_0, [(-0.145,-0.145,0.145,0.145)])
R(m1m2, L51_0, [(-0.095,-0.095,0.095,0.095)])

m2m3 = lib.new_cell('M2M3')
R(m2m3, L32_0, [(-0.145,-0.145,0.145,0.145)])
R(m2m3, L33_0, [(-0.145,-0.145,0.145,0.145)])
R(m2m3, L52_0, [(-0.095,-0.095,0.095,0.095)])

m3m4 = lib.new_cell('M3M4')
R(m3m4, L33_0, [(-0.145,-0.145,0.145,0.145)])
R(m3m4, L34_0, [(-0.145,-0.145,0.145,0.145)])
R(m3m4, L53_0, [(-0.095,-0.095,0.095,0.095)])

m4m5 = lib.new_cell('M4M5')
R(m4m5, L34_0, [(-0.145,-0.145,0.145,0.145)])
R(m4m5, L35_0, [(-0.145,-0.145,0.145,0.145)])
R(m4m5, L54_0, [(-0.095,-0.095,0.095,0.095)])

m5m6 = lib.new_cell('M5M6')
R(m5m6, L35_0, [(-0.23,-0.23,0.23,0.23)])
R(m5m6, L36_0, [(-0.27,-0.27,0.27,0.27)])
R(m5m6, L55_0, [(-0.18,-0.18,0.18,0.18)])

m6m7 = lib.new_cell('M6M7')
R(m6m7, L36_0, [(-0.23,-0.23,0.23,0.23)])
R(m6m7, L37_0, [(-0.27,-0.27,0.27,0.27)])
R(m6m7, L56_0, [(-0.18,-0.18,0.18,0.18)])

m7m8 = lib.new_cell('M7M8')
R(m7m8, L37_0, [(-0.27,-0.27,0.27,0.27)])
R(m7m8, L38_0, [(-0.63,-0.48,0.63,0.48)])
R(m7m8, L57_0, [(-0.18,-0.18,0.18,0.18)])

minialu1bit = lib.new_cell('miniALU1bit')
R(minialu1bit, L31_0, [(1.83,3.085,2.5,3.245), (3.055,3.625,5.56,3.785), (11.385,3.625,12.7,3.785), (9.005,3.715,9.62,3.875), (0.57,3.72,0.91,3.88), (7.34,4.21,8.36,4.37), (4.49,4.885,5.18,5.045), (1.2,4.98,1.92,5.14), (-13.99,8.27,0.1,8.43), (15.27,12.04,16.585,12.2), (6.32,12.135,9.395,12.295), (12.61,12.575,14.45,12.735), (9.11,13.835,9.97,13.995)])
R(minialu1bit, L32_0, [(14.535,0.485,14.735,8.69), (13.865,3.005,14.065,3.775), (2.32,3.695,2.52,4.425), (4.425,3.695,4.625,10.655), (0.73,3.7,0.93,11.665), (13.83,3.72,14.03,12.075), (11.965,4.265,12.165,11.54), (9.855,4.865,10.055,10.825), (2.445,4.96,2.645,11.665), (12.955,8.185,13.155,16.39), (18.27,10.145,18.47,11.035), (6.665,10.6,6.865,13.45), (11.965,11.485,12.165,12.215), (7.335,12.02,7.535,12.82), (18.125,12.05,18.325,12.845), (9.215,12.115,9.415,12.845)])
R(minialu1bit, L33_0, [(6.215,3.005,14.065,3.205), (2.32,3.695,9.185,3.895), (4.955,4.19,7.52,4.39), (11.965,4.265,13.495,4.465), (5,4.865,10.055,5.065), (1.74,4.96,2.645,5.16), (2.445,10.145,18.47,10.345), (4.435,10.6,6.865,10.8), (8.46,11.485,12.165,11.685), (7.335,12.02,10.715,12.22), (10.56,12.02,13.985,12.22), (9.215,12.645,18.325,12.845)])
R(minialu1bit, L34_0, [(2.32,3.065,2.52,3.765), (11.965,3.565,12.165,4.465)])
R(minialu1bit, L35_0, [(2.32,3.565,12.165,3.765)])
R(minialu1bit, L37_0, [(-14.18,8.22,-13.78,8.66), (34.99,8.22,35.39,8.66), (20.355,8.46,35.09,8.66), (-14.18,11.495,-13.78,11.695), (-13.88,11.495,0.93,11.695)])
R(minialu1bit, L38_0, [(6.77,-14.17,7.21,-13.77), (13.205,-14.17,13.645,-13.77), (6.77,-13.99,7.21,2.805), (13.205,-13.99,13.645,4.585), (10.265,11.9,10.705,30.865), (17.86,12.525,18.3,31.045), (5.07,14.335,5.51,30.865), (5.07,30.645,5.51,31.045), (10.265,30.645,10.705,31.045), (18.035,30.645,18.475,31.045)])
minialu1bit.add(gdstk.Reference(inv01, (11.29,8.445), rotation=pi, x_reflection=True))
minialu1bit.add(gdstk.Reference(inv01, (11.29,8.445)))
minialu1bit.add(gdstk.Reference(ao32, (9.33,8.445), rotation=pi, x_reflection=True))
minialu1bit.add(gdstk.Reference(xnor2, (12.27,0.03), rotation=pi, x_reflection=True))
minialu1bit.add(gdstk.Reference(xnor2, (15.7,8.445)))
minialu1bit.add(gdstk.Reference(xor2, (0.02,8.445)))
minialu1bit.add(gdstk.Reference(nand02, (14.72,0.03), rotation=pi, x_reflection=True))
minialu1bit.add(gdstk.Reference(nand02, (13.25,8.445)))
minialu1bit.add(gdstk.Reference(oai22, (3.45,0.03)))
minialu1bit.add(gdstk.Reference(aoi22, (0.02,0.03)))
minialu1bit.add(gdstk.Reference(m1m2, (14.635,0.585)))
minialu1bit.add(gdstk.Reference(m1m2, (14.635,8.59)))
minialu1bit.add(gdstk.Reference(m1m2, (13.055,8.285)))
minialu1bit.add(gdstk.Reference(m1m2, (13.055,16.29)))
minialu1bit.add(gdstk.Reference(m1m2, (-13.91,8.35)))
minialu1bit.add(gdstk.Reference(m2m3, (-13.91,8.35)))
minialu1bit.add(gdstk.Reference(m3m4, (-13.91,8.35)))
minialu1bit.add(gdstk.Reference(m4m5, (-13.91,8.35)))
minialu1bit.add(gdstk.Reference(m5m6, (-13.91,8.35)))
minialu1bit.add(gdstk.Reference(m6m7, (-13.91,8.35)))
minialu1bit.add(gdstk.Reference(m1m2, (20.455,8.56)))
minialu1bit.add(gdstk.Reference(m2m3, (20.455,8.56)))
minialu1bit.add(gdstk.Reference(m3m4, (20.455,8.56)))
minialu1bit.add(gdstk.Reference(m4m5, (20.455,8.56)))
minialu1bit.add(gdstk.Reference(m5m6, (20.455,8.56)))
minialu1bit.add(gdstk.Reference(m6m7, (20.455,8.56)))
minialu1bit.add(gdstk.Reference(m1m2, (4.535,10.7)))
minialu1bit.add(gdstk.Reference(m2m3, (4.535,10.7)))
minialu1bit.add(gdstk.Reference(m2m3, (6.765,10.7)))
minialu1bit.add(gdstk.Reference(m1m2, (6.765,13.35)))
minialu1bit.add(gdstk.Reference(m1m2, (10.66,12.12)))
minialu1bit.add(gdstk.Reference(m2m3, (10.66,12.12)))
minialu1bit.add(gdstk.Reference(m1m2, (13.885,12.12)))
minialu1bit.add(gdstk.Reference(m2m3, (13.885,12.12)))
minialu1bit.add(gdstk.Reference(m1m2, (7.42,4.29)))
minialu1bit.add(gdstk.Reference(m2m3, (7.42,4.29)))
minialu1bit.add(gdstk.Reference(m1m2, (5.055,4.29)))
minialu1bit.add(gdstk.Reference(m2m3, (5.055,4.29)))
minialu1bit.add(gdstk.Reference(m2m3, (7.435,12.12)))
minialu1bit.add(gdstk.Reference(m1m2, (7.435,12.72)))
minialu1bit.add(gdstk.Reference(m1m2, (8.56,11.585)))
minialu1bit.add(gdstk.Reference(m2m3, (8.56,11.585)))
minialu1bit.add(gdstk.Reference(m2m3, (12.065,11.585)))
minialu1bit.add(gdstk.Reference(m1m2, (12.065,12.115)))
minialu1bit.add(gdstk.Reference(m1m2, (9.085,3.795)))
minialu1bit.add(gdstk.Reference(m2m3, (9.085,3.795)))
minialu1bit.add(gdstk.Reference(m2m3, (2.42,3.795)))
minialu1bit.add(gdstk.Reference(m1m2, (2.42,4.325)))
minialu1bit.add(gdstk.Reference(m1m2, (1.84,5.06)))
minialu1bit.add(gdstk.Reference(m2m3, (1.84,5.06)))
minialu1bit.add(gdstk.Reference(m2m3, (2.545,5.06)))
minialu1bit.add(gdstk.Reference(m1m2, (2.545,11.565)))
minialu1bit.add(gdstk.Reference(m1m2, (0.83,3.8)))
minialu1bit.add(gdstk.Reference(m1m2, (0.83,11.565)))
minialu1bit.add(gdstk.Reference(m1m2, (6.315,3.105)))
minialu1bit.add(gdstk.Reference(m2m3, (6.315,3.105)))
minialu1bit.add(gdstk.Reference(m2m3, (13.965,3.105)))
minialu1bit.add(gdstk.Reference(m1m2, (13.965,3.675)))
minialu1bit.add(gdstk.Reference(m2m3, (4.525,3.795)))
minialu1bit.add(gdstk.Reference(m1m2, (13.395,4.365)))
minialu1bit.add(gdstk.Reference(m2m3, (13.395,4.365)))
minialu1bit.add(gdstk.Reference(m2m3, (12.065,4.365)))
minialu1bit.add(gdstk.Reference(m1m2, (9.315,12.215)))
minialu1bit.add(gdstk.Reference(m2m3, (9.315,12.745)))
minialu1bit.add(gdstk.Reference(m2m3, (18.225,12.745)))
minialu1bit.add(gdstk.Reference(m1m2, (18.225,12.15)))
minialu1bit.add(gdstk.Reference(m1m2, (5.1,4.965)))
minialu1bit.add(gdstk.Reference(m2m3, (5.1,4.965)))
minialu1bit.add(gdstk.Reference(m2m3, (9.955,4.965)))
minialu1bit.add(gdstk.Reference(m1m2, (9.955,10.725)))
minialu1bit.add(gdstk.Reference(m2m3, (0.83,11.595)))
minialu1bit.add(gdstk.Reference(m3m4, (0.83,11.595)))
minialu1bit.add(gdstk.Reference(m4m5, (0.83,11.595)))
minialu1bit.add(gdstk.Reference(m5m6, (0.83,11.595)))
minialu1bit.add(gdstk.Reference(m6m7, (0.83,11.595)))
minialu1bit.add(gdstk.Reference(m1m2, (2.42,3.165)))
minialu1bit.add(gdstk.Reference(m2m3, (2.42,3.165)))
minialu1bit.add(gdstk.Reference(m3m4, (2.42,3.165)))
minialu1bit.add(gdstk.Reference(m4m5, (2.42,3.665)))
minialu1bit.add(gdstk.Reference(m4m5, (12.065,3.665)))
minialu1bit.add(gdstk.Reference(m3m4, (12.065,4.365)))
minialu1bit.add(gdstk.Reference(m1m2, (18.37,10.935)))
minialu1bit.add(gdstk.Reference(m2m3, (18.37,10.245)))
minialu1bit.add(gdstk.Reference(m2m3, (2.545,10.245)))
minialu1bit.add(gdstk.Reference(m1m2, (6.99,2.585)))
minialu1bit.add(gdstk.Reference(m2m3, (6.99,2.585)))
minialu1bit.add(gdstk.Reference(m3m4, (6.99,2.585)))
minialu1bit.add(gdstk.Reference(m4m5, (6.99,2.585)))
minialu1bit.add(gdstk.Reference(m5m6, (6.99,2.585)))
minialu1bit.add(gdstk.Reference(m6m7, (6.99,2.585)))
minialu1bit.add(gdstk.Reference(m7m8, (6.99,2.585), rotation=pi/2))
minialu1bit.add(gdstk.Reference(m1m2, (5.29,14.555)))
minialu1bit.add(gdstk.Reference(m2m3, (5.29,14.555)))
minialu1bit.add(gdstk.Reference(m3m4, (5.29,14.555)))
minialu1bit.add(gdstk.Reference(m4m5, (5.29,14.555)))
minialu1bit.add(gdstk.Reference(m5m6, (5.29,14.555)))
minialu1bit.add(gdstk.Reference(m6m7, (5.29,14.555)))
minialu1bit.add(gdstk.Reference(m7m8, (5.29,14.555), rotation=pi/2))
minialu1bit.add(gdstk.Reference(m3m4, (13.425,4.365)))
minialu1bit.add(gdstk.Reference(m4m5, (13.425,4.365)))
minialu1bit.add(gdstk.Reference(m5m6, (13.425,4.365)))
minialu1bit.add(gdstk.Reference(m6m7, (13.425,4.365)))
minialu1bit.add(gdstk.Reference(m7m8, (13.425,4.365), rotation=pi/2))
minialu1bit.add(gdstk.Reference(m3m4, (18.08,12.745)))
minialu1bit.add(gdstk.Reference(m4m5, (18.08,12.745)))
minialu1bit.add(gdstk.Reference(m5m6, (18.08,12.745)))
minialu1bit.add(gdstk.Reference(m6m7, (18.08,12.745)))
minialu1bit.add(gdstk.Reference(m7m8, (18.08,12.745), rotation=pi/2))
minialu1bit.add(gdstk.Reference(m3m4, (10.485,12.12)))
minialu1bit.add(gdstk.Reference(m4m5, (10.485,12.12)))
minialu1bit.add(gdstk.Reference(m5m6, (10.485,12.12)))
minialu1bit.add(gdstk.Reference(m6m7, (10.485,12.12)))
minialu1bit.add(gdstk.Reference(m7m8, (10.485,12.12), rotation=pi/2))
minialu1bit.add(gdstk.Label('VSS', (35.19,8.44), layer=137, texttype=0))
minialu1bit.add(gdstk.Label('VDD', (-13.98,8.44), layer=137, texttype=0))
minialu1bit.add(gdstk.Label('Input1[0]', (-13.98,11.595), layer=137, texttype=0))
minialu1bit.add(gdstk.Label('Control[1]', (10.485,30.845), layer=138, texttype=0))
minialu1bit.add(gdstk.Label('Control[0]', (13.425,-13.97), layer=138, texttype=0))
minialu1bit.add(gdstk.Label('Output[0]', (6.99,-13.97), layer=138, texttype=0))
minialu1bit.add(gdstk.Label('Cout', (5.29,30.845), layer=138, texttype=0))
minialu1bit.add(gdstk.Label('Input2[0]', (18.255,30.845), layer=138, texttype=0))

lib.write_gds('miniALU1bit.gds')
